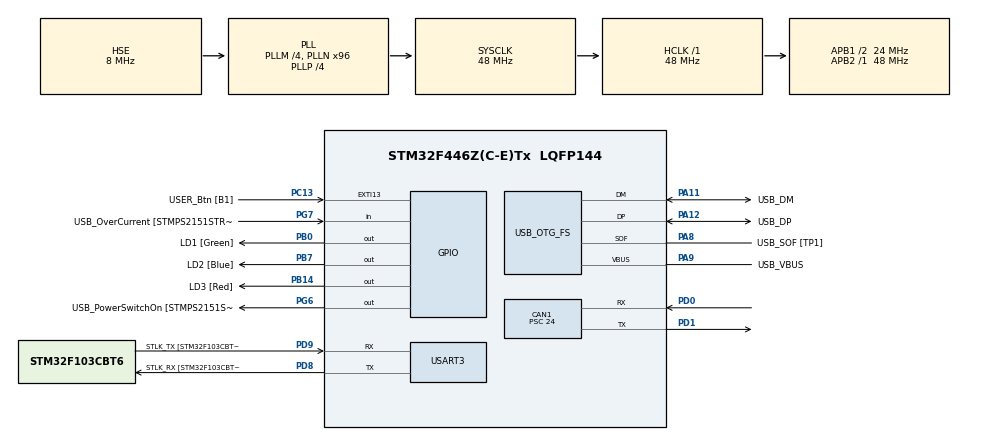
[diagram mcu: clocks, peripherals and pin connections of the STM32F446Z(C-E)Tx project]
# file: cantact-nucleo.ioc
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CAN1.BS1=CAN_BS1_4TQ
CAN1.BS2=CAN_BS2_3TQ
CAN1.CalculateTimeQuantum=1000.0
CAN1.Mode=CAN_MODE_NORMAL
CAN1.Prescaler=24
Mcu.Family=STM32F4
Mcu.Name=STM32F446Z(C-E)Tx
Mcu.Package=LQFP144
NVIC.OTG_FS_IRQn=true\:0\:0\:false\:false\:true\:false\:true
NVIC.PriorityGroup=NVIC_PRIORITYGROUP_4
PA10.GPIO_Label=USB_ID
PA10.Signal=USB_OTG_FS_ID
PA11.GPIO_Label=USB_DM
PA11.Mode=Device_Only
PA11.Signal=USB_OTG_FS_DM
PA12.GPIO_Label=USB_DP
PA12.Mode=Device_Only
PA12.Signal=USB_OTG_FS_DP
PA13.GPIO_Label=TMS
PA13.Mode=Serial_Wire
PA13.Signal=SYS_JTMS-SWDIO
PA14.GPIO_Label=TCK
PA14.Mode=Serial_Wire
PA14.Signal=SYS_JTCK-SWCLK
PA8.GPIO_Label=USB_SOF [TP1]
PA8.Mode=Activate_SOF_FS
PA8.Signal=USB_OTG_FS_SOF
PA9.GPIO_Label=USB_VBUS
PA9.Mode=Activate_VBUS
PA9.Signal=USB_OTG_FS_VBUS
PB0.GPIO_Label=LD1 [Green]
PB0.Signal=GPIO_Output
PB14.GPIO_Label=LD3 [Red]
PB14.Signal=GPIO_Output
PB7.GPIO_Label=LD2 [Blue]
PB7.Signal=GPIO_Output
PC13.GPIO_Label=USER_Btn [B1]
PC13.Signal=GPXTI13
PC14-OSC32_IN.Mode=LSE-External-Oscillator
PC14-OSC32_IN.Signal=RCC_OSC32_IN
PC15-OSC32_OUT.Mode=LSE-External-Oscillator
PC15-OSC32_OUT.Signal=RCC_OSC32_OUT
PD0.Mode=Master
PD0.Signal=CAN1_RX
PD1.Mode=Master
PD1.Signal=CAN1_TX
PD8.GPIO_Label=STLK_RX [STM32F103CBT6_PA3]
PD8.Mode=Asynchronous
PD8.Signal=USART3_TX
PD9.GPIO_Label=STLK_TX [STM32F103CBT6_PA2]
PD9.Mode=Asynchronous
PD9.Signal=USART3_RX
PG6.GPIO_Label=USB_PowerSwitchOn [STMPS2151STR_EN]
PG6.Signal=GPIO_Output
PG7.GPIO_Label=USB_OverCurrent [STMPS2151STR_FAULT]
PG7.Signal=GPIO_Input
PH0-OSC_IN.GPIO_Label=MCO [STM32F103CBT6_PA8]
PH0-OSC_IN.Mode=HSE-External-Clock-Source
PH0-OSC_IN.Signal=RCC_OSC_IN
PH1-OSC_OUT.Mode=HSE-External-Clock-Source
PH1-OSC_OUT.Signal=RCC_OSC_OUT
ProjectManager.HeapSize=0x200
ProjectManager.StackSize=0x400
ProjectManager.TargetToolchain=STM32CubeIDE
RCC.48MHZClocksFreq_Value=24000000
RCC.AHBFreq_Value=48000000
RCC.APB1CLKDivider=RCC_HCLK_DIV2
RCC.APB1Freq_Value=24000000
RCC.APB1TimFreq_Value=48000000
RCC.APB2Freq_Value=48000000
RCC.APB2TimFreq_Value=48000000
RCC.CortexFreq_Value=48000000
RCC.HCLKFreq_Value=48000000
RCC.HSE_VALUE=8000000
RCC.HSI_VALUE=16000000
RCC.PLLM=4
RCC.PLLMUL=RCC_PLL_MUL9
RCC.PLLN=96
RCC.PLLP=RCC_PLLP_DIV4
RCC.PLLQ=4
RCC.PRESCALERUSB=RCC_USBCLKSOURCE_PLL_DIV1_5
RCC.SYSCLKFreq_VALUE=48000000
RCC.SYSCLKSource=RCC_SYSCLKSOURCE_PLLCLK
RCC.SYSCLKSourceVirtual=RCC_SYSCLKSOURCE_PLLCLK
RCC.USBFreq_Value=48000000
RCC.VCOOutputFreq_Value=192000000
USART3.VirtualMode=VM_ASYNC
USB_DEVICE.CLASS_NAME_FS=CDC
USB_DEVICE.VirtualMode-CDC_FS=Cdc
USB_DEVICE.VirtualModeFS=Cdc_FS
USB_OTG_FS.VirtualMode=Device_Only
VP_USB_DEVICE_VS_USB_DEVICE_CDC_FS.Mode=CDC_FS
board=NUCLEO-F446ZE

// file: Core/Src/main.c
/* USER CODE BEGIN Header */
/**
  ******************************************************************************
  * @file           : main.c
  * @brief          : Main program body
  ******************************************************************************
  * @attention
  *
  * <h2><center>&copy; Copyright (c) 2020 STMicroelectronics.
  * All rights reserved.</center></h2>
  *
  * This software component is licensed by ST under BSD 3-Clause license,
  * the "License"; You may not use this file except in compliance with the
  * License. You may obtain a copy of the License at:
  *                        opensource.org/licenses/BSD-3-Clause
  *
  ******************************************************************************
  */
/* USER CODE END Header */
#include "main.h"
#include "usb_device.h"

/* USER CODE BEGIN Includes */
#include "usbd_cdc_if.h"
#include "slcan.h"
#include "led.h"
/* USER CODE END Includes */

/* USER CODE BEGIN PD */
#define TEST
/* USER CODE END PD */

CAN_HandleTypeDef hcan1;

UART_HandleTypeDef huart3;

void SystemClock_Config(void);
static void MX_GPIO_Init(void);
static void MX_USART3_UART_Init(void);
static void MX_CAN1_Init(void);
/* USER CODE BEGIN PFP */
void strcopy(uint8_t *, uint8_t *);
/* USER CODE END PFP */

int main(void)
{

  /* MCU Configuration--------------------------------------------------------*/

  /* Reset of all peripherals, Initializes the Flash interface and the Systick. */
  HAL_Init();

  /* Configure the system clock */
  SystemClock_Config();

  /* Initialize all configured peripherals */
  MX_GPIO_Init();
  MX_USART3_UART_Init();
  MX_CAN1_Init();
  MX_USB_DEVICE_Init();
  /* USER CODE BEGIN 2 */

  // CAN Headers, Data Buffers, and Holders for the Command String & it's Length
  CAN_TxHeaderTypeDef TxHeader;
  CAN_RxHeaderTypeDef RxHeader;
  uint8_t aData[8];
  uint32_t Len;

  HAL_Delay(3000);
#ifdef TEST
  // BEGIN SLCAN TEST
  // Using SLCAN_CommandStringRx for tests so that no weird conflicts happen with SLCAN_CommandStringTx in USB receive callback
  // Test LEDs
  LED_GreenOn();
  LED_BlueOn();
  LED_RedOn();
  HAL_Delay(250);
  LED_Process();
  uint8_t TestResult = SLCAN_OK;
  uint32_t Tx_Mailbox;
  // Test Setting Up Filter (0's) --> M
  // Try ExtId Filter
  ClearSLCAN();
  strcopy(SLCAN_CommandStringRx, (uint8_t *)"M0000000\r");
  if (SLCAN_Parse_Str(SLCAN_CommandStringRx, 2 + SLCAN_EXT_ID_LEN, &TxHeader, aData) != SLCAN_OK) {
	  TestResult = SLCAN_ERROR;
  }
  HAL_Delay(500);
  // Try StdId Filter
  ClearSLCAN();
  strcopy(SLCAN_CommandStringRx, (uint8_t *)"M000\r");
  if (SLCAN_Parse_Str(SLCAN_CommandStringRx, 2 + SLCAN_STD_ID_LEN, &TxHeader, aData) != SLCAN_OK) {
	  TestResult = SLCAN_ERROR;
  }
  HAL_Delay(500);
  // Test Setting up a Mask (0's) --> m
  ClearSLCAN();
  strcopy(SLCAN_CommandStringRx, (uint8_t *)"m000\r");
  if (SLCAN_Parse_Str(SLCAN_CommandStringRx, 2 + SLCAN_STD_ID_LEN, &TxHeader, aData) != SLCAN_OK) {
	  TestResult = SLCAN_ERROR;
  }
  HAL_Delay(500);
  // Test Filter+Mask Request
  ClearSLCAN();
  strcopy(SLCAN_CommandStringRx, (uint8_t *)"MM\r");
  if (SLCAN_Parse_Str(SLCAN_CommandStringRx, 3, &TxHeader, aData) != SLCAN_OK) {
	  TestResult = SLCAN_ERROR;
  }
  HAL_Delay(500);
  // Test Speed Change --> 500kbit/s
  ClearSLCAN();
  strcopy(SLCAN_CommandStringRx, (uint8_t *)"s6\r");
  if (SLCAN_Parse_Str(SLCAN_CommandStringRx, 3, &TxHeader, aData) != SLCAN_OK) {
	  TestResult = SLCAN_ERROR;
  }
  HAL_Delay(500);
  // Test Mode Switch (Loopback + Silent(Listen) Mode)
  ClearSLCAN();
  strcopy(SLCAN_CommandStringRx, (uint8_t *)"L3\r");
  if (SLCAN_Parse_Str(SLCAN_CommandStringRx, 3, &TxHeader, aData) != SLCAN_OK) {
	  TestResult = SLCAN_ERROR;
  }
  HAL_Delay(500);
  // Test Opening Connection
  ClearSLCAN();
  strcopy(SLCAN_CommandStringRx, (uint8_t *)"O\r");
  if (SLCAN_Parse_Str(SLCAN_CommandStringRx, 2, &TxHeader, aData) != SLCAN_OK) {
	  TestResult = SLCAN_ERROR;
  }
  HAL_Delay(500);
  // Test Transmit
  ClearSLCAN();
  strcopy(SLCAN_CommandStringRx, (uint8_t *)"T1122334481122334455667788EA5F\r");
  if (SLCAN_Parse_Str(SLCAN_CommandStringRx, SLCAN_MTU, &TxHeader, aData) != SLCAN_OK) {
	  TestResult = SLCAN_ERROR;
  }
  else if (HAL_CAN_AddTxMessage(&hcan1, &TxHeader, aData, &Tx_Mailbox) != HAL_OK) {
  					  TestResult = SLCAN_ERROR;
  }

  HAL_Delay(500);
  ClearSLCAN();
  strcopy(SLCAN_CommandStringRx, (uint8_t *)"t12381122334455667788EA5F\r");
  if (SLCAN_Parse_Str(SLCAN_CommandStringRx, SLCAN_MTU, &TxHeader, aData) != SLCAN_OK) {
	  TestResult = SLCAN_ERROR;
  }
  else if (HAL_CAN_AddTxMessage(&hcan1, &TxHeader, aData, &Tx_Mailbox) != HAL_OK) {
  					  TestResult = SLCAN_ERROR;
  }
  HAL_Delay(500);
  // Test Receive (No Timestamps) <Should be messages available from Test Mode + Transmit Tests>
  while (HAL_CAN_GetRxFifoFillLevel(&hcan1, CAN_RX_FIFO0) > 0) {
	if (HAL_CAN_GetRxMessage(&hcan1, CAN_RX_FIFO0, &RxHeader, aData) == HAL_OK) {
		if (SLCAN_Parse_Frame(&RxHeader, aData, SLCAN_CommandStringRx, &Len) == SLCAN_OK) {
			if (CDC_Transmit_FS(SLCAN_CommandStringRx, Len) == HAL_OK) {
				;
			}
			else {
				TestResult = SLCAN_ERROR;
			}
		}
		else {
			TestResult = SLCAN_ERROR; 	// This means the HAL_CAN_GetRxMessage call failed - which would be weird
		}
	}
  }
  // Test Timestamps
  HAL_Delay(500);
  ClearSLCAN();
  strcopy(SLCAN_CommandStringRx, (uint8_t *)"Z\r");
  if (SLCAN_Parse_Str(SLCAN_CommandStringRx, 2, &TxHeader, aData) != SLCAN_OK) {
	  TestResult = SLCAN_ERROR;
  }
  HAL_Delay(500);
  ClearSLCAN();
  strcopy(SLCAN_CommandStringRx, (uint8_t *)"Z0\r");
  if (SLCAN_Parse_Str(SLCAN_CommandStringRx, 3, &TxHeader, aData) != SLCAN_OK) {
	  TestResult = SLCAN_ERROR;
  }
  HAL_Delay(500);
  ClearSLCAN();
  strcopy(SLCAN_CommandStringRx, (uint8_t *)"Z1\r");
  if (SLCAN_Parse_Str(SLCAN_CommandStringRx, 3, &TxHeader, aData) != SLCAN_OK) {
	  TestResult = SLCAN_ERROR;
  }
  HAL_Delay(500);
  // Test Transmit (Again, to test Timestamps)
  ClearSLCAN();
  strcopy(SLCAN_CommandStringRx, (uint8_t *)"T1122334481122334455667788EA5F\r");
  if (SLCAN_Parse_Str(SLCAN_CommandStringRx, SLCAN_MTU, &TxHeader, aData) != SLCAN_OK) {
	  TestResult = SLCAN_ERROR;
  }
  else if (HAL_CAN_AddTxMessage(&hcan1, &TxHeader, aData, &Tx_Mailbox) != HAL_OK) {
  					  TestResult = SLCAN_ERROR;
  }

  HAL_Delay(500);
  ClearSLCAN();
  strcopy(SLCAN_CommandStringRx, (uint8_t *)"t12381122334455667788EA5F\r");
  if (SLCAN_Parse_Str(SLCAN_CommandStringRx, SLCAN_MTU, &TxHeader, aData) != SLCAN_OK) {
	  TestResult = SLCAN_ERROR;
  }
  else if (HAL_CAN_AddTxMessage(&hcan1, &TxHeader, aData, &Tx_Mailbox) != HAL_OK) {
  					  TestResult = SLCAN_ERROR;
  }
  HAL_Delay(500);
  // Test Receive (Timestamps)
  while (HAL_CAN_GetRxFifoFillLevel(&hcan1, CAN_RX_FIFO0) > 0) {
	if (HAL_CAN_GetRxMessage(&hcan1, CAN_RX_FIFO0, &RxHeader, aData) == HAL_OK) {
		if (SLCAN_Parse_Frame(&RxHeader, aData, SLCAN_CommandStringRx, &Len) == SLCAN_OK) {
			if (CDC_Transmit_FS(SLCAN_CommandStringRx, Len) == HAL_OK) {
				;
			}
			else {
				TestResult = SLCAN_ERROR;
			}
		}
		else {
			TestResult = SLCAN_ERROR;
		}
	}
  }
  HAL_Delay(500);
  // Test Closing Connection
  ClearSLCAN();
  strcopy(SLCAN_CommandStringRx, (uint8_t *)"C\r");
  if (SLCAN_Parse_Str(SLCAN_CommandStringRx, 2, &TxHeader, aData) != SLCAN_OK) {
	  TestResult = SLCAN_ERROR;
  }
  HAL_Delay(500);
  // Test Read Status Flags
  ClearSLCAN();
  strcopy(SLCAN_CommandStringRx, (uint8_t *)"F\r");
  if (SLCAN_Parse_Str(SLCAN_CommandStringRx, 2, &TxHeader, aData) != SLCAN_OK) {
	  TestResult = SLCAN_ERROR;
  }
  // END SLCAN TEST
  HAL_Delay(200);
  ClearSLCAN();
  strcopy(SLCAN_CommandStringRx, (uint8_t *)"Z\r");
  if (SLCAN_Parse_Str(SLCAN_CommandStringRx, 2, &TxHeader, aData) != SLCAN_OK) {
	  TestResult = SLCAN_ERROR;
  }
  HAL_Delay(200);
  LED_Process();
  if (TestResult != SLCAN_OK) {
	  LED_RedForceOn();
	  HAL_Delay(5000);
  }
  else {
	  LED_GreenOn();
  }
  HAL_Delay(500);
#endif
#ifndef TEST
  CAN_SetFilter(hcan1, 0, 0);
#endif
  /* USER CODE END 2 */

  /* Infinite loop */
  /* USER CODE BEGIN WHILE */
  while (1)
  {

	// Turn off LEDs that have been on long enough
	LED_Process();

	// Parse and send (to USB) any received CAN frames
	if (HAL_CAN_GetRxFifoFillLevel(&hcan1, CAN_RX_FIFO0) > 0) {
		if (HAL_CAN_GetRxMessage(&hcan1, CAN_RX_FIFO0, &RxHeader, aData) == HAL_OK) {
			if (SLCAN_Parse_Frame(&RxHeader, aData, SLCAN_CommandStringRx, &Len) == SLCAN_OK) {
				if (CDC_Transmit_FS(SLCAN_CommandStringRx, Len) == HAL_OK) {
					LED_GreenOn();
				}
				else {
					; // Add Handler for failed transmission
				}
			}
			else {
				; // Add Handler for failed SLCAN parse
			}
		}
	}

    /* USER CODE END WHILE */

  }
}

void SystemClock_Config(void)
{
  RCC_OscInitTypeDef RCC_OscInitStruct = {0};
  RCC_ClkInitTypeDef RCC_ClkInitStruct = {0};
  RCC_PeriphCLKInitTypeDef PeriphClkInitStruct = {0};

  /** Configure the main internal regulator output voltage
  */
  __HAL_RCC_PWR_CLK_ENABLE();
  __HAL_PWR_VOLTAGESCALING_CONFIG(PWR_REGULATOR_VOLTAGE_SCALE3);
  /** Initializes the RCC Oscillators according to the specified parameters
  * in the RCC_OscInitTypeDef structure.
  */
  RCC_OscInitStruct.OscillatorType = RCC_OSCILLATORTYPE_HSE;
  RCC_OscInitStruct.HSEState = RCC_HSE_BYPASS;
  RCC_OscInitStruct.PLL.PLLState = RCC_PLL_ON;
  RCC_OscInitStruct.PLL.PLLSource = RCC_PLLSOURCE_HSE;
  RCC_OscInitStruct.PLL.PLLM = 4;
  RCC_OscInitStruct.PLL.PLLN = 96;
  RCC_OscInitStruct.PLL.PLLP = RCC_PLLP_DIV4;
  RCC_OscInitStruct.PLL.PLLQ = 4;
  RCC_OscInitStruct.PLL.PLLR = 2;
  if (HAL_RCC_OscConfig(&RCC_OscInitStruct) != HAL_OK)
  {
    Error_Handler();
  }
  /** Initializes the CPU, AHB and APB buses clocks
  */
  RCC_ClkInitStruct.ClockType = RCC_CLOCKTYPE_HCLK|RCC_CLOCKTYPE_SYSCLK
                              |RCC_CLOCKTYPE_PCLK1|RCC_CLOCKTYPE_PCLK2;
  RCC_ClkInitStruct.SYSCLKSource = RCC_SYSCLKSOURCE_PLLCLK;
  RCC_ClkInitStruct.AHBCLKDivider = RCC_SYSCLK_DIV1;
  RCC_ClkInitStruct.APB1CLKDivider = RCC_HCLK_DIV2;
  RCC_ClkInitStruct.APB2CLKDivider = RCC_HCLK_DIV1;

  if (HAL_RCC_ClockConfig(&RCC_ClkInitStruct, FLASH_LATENCY_1) != HAL_OK)
  {
    Error_Handler();
  }
  PeriphClkInitStruct.PeriphClockSelection = RCC_PERIPHCLK_CLK48;
  PeriphClkInitStruct.Clk48ClockSelection = RCC_CLK48CLKSOURCE_PLLQ;
  if (HAL_RCCEx_PeriphCLKConfig(&PeriphClkInitStruct) != HAL_OK)
  {
    Error_Handler();
  }
}

static void MX_CAN1_Init(void)
{

  hcan1.Instance = CAN1;
  hcan1.Init.Prescaler = 24;
  hcan1.Init.Mode = CAN_MODE_NORMAL;
  hcan1.Init.SyncJumpWidth = CAN_SJW_1TQ;
  hcan1.Init.TimeSeg1 = CAN_BS1_4TQ;
  hcan1.Init.TimeSeg2 = CAN_BS2_3TQ;
  hcan1.Init.TimeTriggeredMode = DISABLE;
  hcan1.Init.AutoBusOff = DISABLE;
  hcan1.Init.AutoWakeUp = DISABLE;
  hcan1.Init.AutoRetransmission = DISABLE;
  hcan1.Init.ReceiveFifoLocked = DISABLE;
  hcan1.Init.TransmitFifoPriority = DISABLE;
  if (HAL_CAN_Init(&hcan1) != HAL_OK)
  {
    Error_Handler();
  }

}

static void MX_USART3_UART_Init(void)
{

  huart3.Instance = USART3;
  huart3.Init.BaudRate = 115200;
  huart3.Init.WordLength = UART_WORDLENGTH_8B;
  huart3.Init.StopBits = UART_STOPBITS_1;
  huart3.Init.Parity = UART_PARITY_NONE;
  huart3.Init.Mode = UART_MODE_TX_RX;
  huart3.Init.HwFlowCtl = UART_HWCONTROL_NONE;
  huart3.Init.OverSampling = UART_OVERSAMPLING_16;
  if (HAL_UART_Init(&huart3) != HAL_OK)
  {
    Error_Handler();
  }

}

static void MX_GPIO_Init(void)
{
  GPIO_InitTypeDef GPIO_InitStruct = {0};

  /* GPIO Ports Clock Enable */
  __HAL_RCC_GPIOC_CLK_ENABLE();
  __HAL_RCC_GPIOH_CLK_ENABLE();
  __HAL_RCC_GPIOB_CLK_ENABLE();
  __HAL_RCC_GPIOD_CLK_ENABLE();
  __HAL_RCC_GPIOG_CLK_ENABLE();
  __HAL_RCC_GPIOA_CLK_ENABLE();

  /*Configure GPIO pin Output Level */
  HAL_GPIO_WritePin(GPIOB, LD1_Pin|LD3_Pin|LD2_Pin, GPIO_PIN_RESET);

  /*Configure GPIO pin Output Level */
  HAL_GPIO_WritePin(USB_PowerSwitchOn_GPIO_Port, USB_PowerSwitchOn_Pin, GPIO_PIN_RESET);

  /*Configure GPIO pin : USER_Btn_Pin */
  GPIO_InitStruct.Pin = USER_Btn_Pin;
  GPIO_InitStruct.Mode = GPIO_MODE_IT_RISING;
  GPIO_InitStruct.Pull = GPIO_NOPULL;
  HAL_GPIO_Init(USER_Btn_GPIO_Port, &GPIO_InitStruct);

  /*Configure GPIO pins : LD1_Pin LD3_Pin LD2_Pin */
  GPIO_InitStruct.Pin = LD1_Pin|LD3_Pin|LD2_Pin;
  GPIO_InitStruct.Mode = GPIO_MODE_OUTPUT_PP;
  GPIO_InitStruct.Pull = GPIO_NOPULL;
  GPIO_InitStruct.Speed = GPIO_SPEED_FREQ_LOW;
  HAL_GPIO_Init(GPIOB, &GPIO_InitStruct);

  /*Configure GPIO pin : USB_PowerSwitchOn_Pin */
  GPIO_InitStruct.Pin = USB_PowerSwitchOn_Pin;
  GPIO_InitStruct.Mode = GPIO_MODE_OUTPUT_PP;
  GPIO_InitStruct.Pull = GPIO_NOPULL;
  GPIO_InitStruct.Speed = GPIO_SPEED_FREQ_LOW;
  HAL_GPIO_Init(USB_PowerSwitchOn_GPIO_Port, &GPIO_InitStruct);

  /*Configure GPIO pin : USB_OverCurrent_Pin */
  GPIO_InitStruct.Pin = USB_OverCurrent_Pin;
  GPIO_InitStruct.Mode = GPIO_MODE_INPUT;
  GPIO_InitStruct.Pull = GPIO_NOPULL;
  HAL_GPIO_Init(USB_OverCurrent_GPIO_Port, &GPIO_InitStruct);

}

/* USER CODE BEGIN 4 */

// Copy string1 <-- string2
void strcopy(uint8_t *string1, uint8_t *string2){
	int i = 0;
	for (i = 0; string2[i] != '\0'; ++i) {
		string1[i] = string2[i];
	}
 	string1[i] = '\0';
}

/* USER CODE END 4 */

void Error_Handler(void)
{
}

/************************ (C) COPYRIGHT STMicroelectronics *****END OF FILE****/
